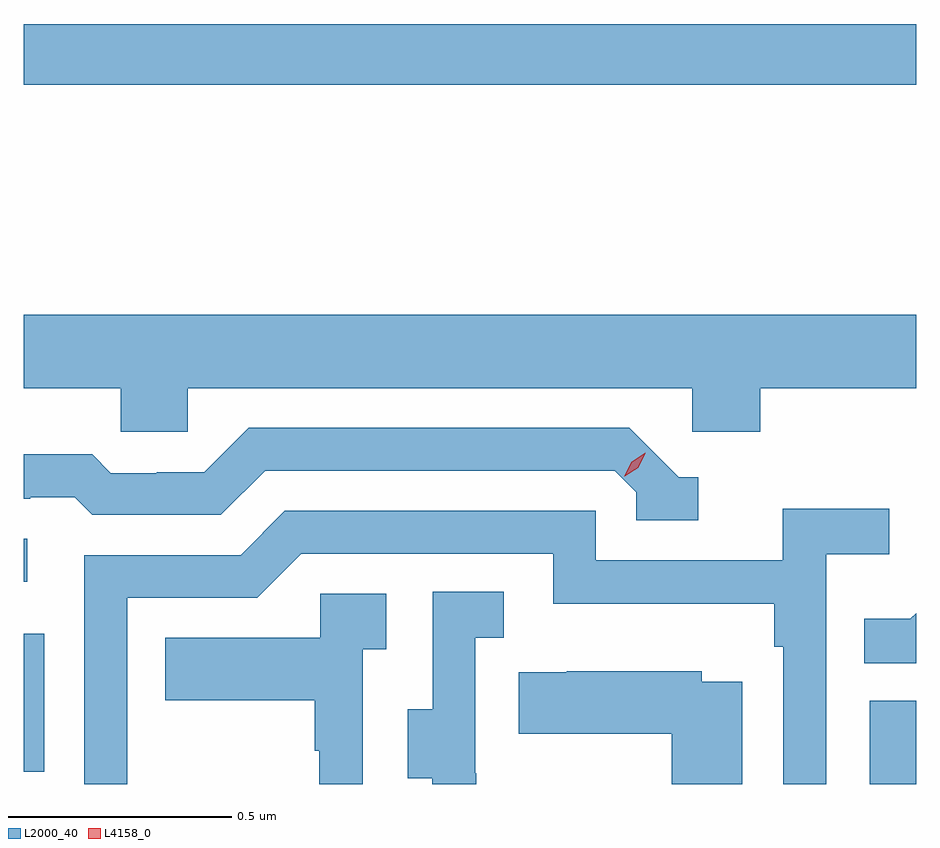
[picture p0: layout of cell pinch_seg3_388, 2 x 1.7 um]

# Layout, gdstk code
import gdstk
lib = gdstk.Library(unit=1e-6, precision=1e-09)
def R(c, l, rs):  # rectangles x0, y0, x1, y1
    for r in rs: c.add(gdstk.rectangle(r[:2], r[2:], *l))
def P(c, l, *ps):  # polygons
    for p in ps: c.add(gdstk.Polygon(p, *l))
L2000_40 = (2000, 40)
L4158_0 = (4158, 0)

pinch_seg3_388 = lib.new_cell('pinch_seg3_388')
R(pinch_seg3_388, L2000_40, [(989.852,686.709,989.956,686.895), (987.956,686.736,988.002,687.046), (987.956,687.162,987.964,687.258), (987.956,688.276,989.956,688.412)])
P(pinch_seg3_388, L2000_40, [(988.323,687.596),(989.454,687.596),(989.454,687.498),(989.606,687.498),(989.606,687.596),(989.956,687.596),(989.956,687.76),(987.956,687.76),(987.956,687.596),(988.173,687.596),(988.173,687.498),(988.323,687.498)],
  [(989.467,687.396),(989.424,687.396),(989.313,687.507),(988.46,687.507),(988.361,687.408),(988.254,687.408),(988.254,687.405),(988.151,687.405),(988.109,687.448),(987.956,687.448),(987.956,687.348),(987.971,687.348),(987.971,687.351),(988.07,687.351),(988.109,687.312),(988.398,687.312),(988.497,687.411),(989.28,687.411),(989.328,687.363),(989.328,687.3),(989.467,687.3)],
  [(988.188,687.126),(988.479,687.126),(988.578,687.225),(989.142,687.225),(989.142,687.113),(989.638,687.113),(989.638,687.017),(989.658,687.017),(989.658,686.709),(989.754,686.709),(989.754,687.224),(989.896,687.224),(989.896,687.326),(989.657,687.326),(989.657,687.21),(989.238,687.21),(989.238,687.321),(988.541,687.321),(988.442,687.222),(988.092,687.222),(988.092,686.709),(988.188,686.709)],
  [(988.97,686.733),(988.968,686.733),(988.968,687.037),(989.032,687.037),(989.032,687.14),(988.872,687.14),(988.872,686.877),(988.817,686.877),(988.817,686.722),(988.871,686.722),(988.871,686.709),(988.97,686.709)],
  [(988.716,687.011),(988.768,687.011),(988.768,687.135),(988.62,687.135),(988.62,687.037),(988.273,687.037),(988.273,686.897),(988.608,686.897),(988.608,686.783),(988.618,686.783),(988.618,686.709),(988.716,686.709)],
  [(989.956,687.092),(989.943,687.079),(989.839,687.079),(989.839,686.98),(989.956,686.98)],
  [(989.566,686.938),(989.475,686.938),(989.475,686.962),(989.173,686.962),(989.173,686.959),(989.065,686.959),(989.065,686.822),(989.408,686.822),(989.408,686.709),(989.566,686.709)])
P(pinch_seg3_388, L4158_0, [(989.302,687.399),(989.302,687.399),(989.318,687.431),(989.349,687.451),(989.349,687.451),(989.349,687.45),(989.333,687.418),(989.303,687.399)])

lib.write_gds('pinch_seg3_388.gds')
